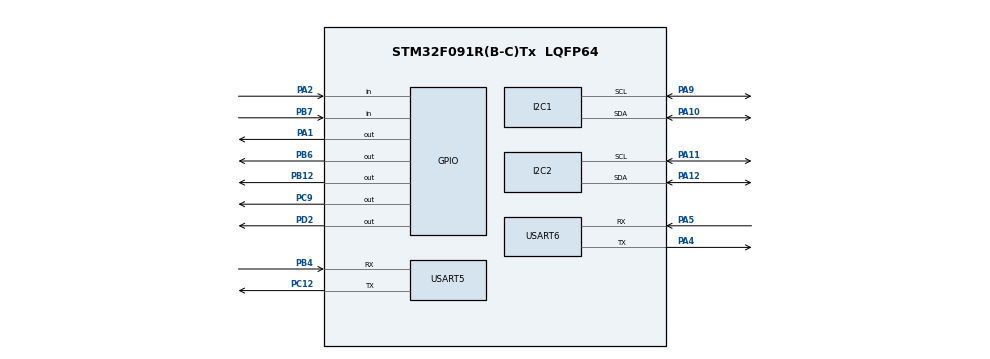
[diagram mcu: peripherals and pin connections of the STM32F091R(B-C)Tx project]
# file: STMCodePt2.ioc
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I2C1.Timing=0x00201D2B
Mcu.Family=STM32F0
Mcu.Name=STM32F091R(B-C)Tx
Mcu.Package=LQFP64
PA1.Signal=GPIO_Output
PA10.Mode=I2C
PA10.Signal=I2C1_SDA
PA11.Mode=I2C
PA11.Signal=I2C2_SCL
PA12.Mode=I2C
PA12.Signal=I2C2_SDA
PA2.Signal=GPIO_Input
PA4.Mode=Asynchronous
PA4.Signal=USART6_TX
PA5.Mode=Asynchronous
PA5.Signal=USART6_RX
PA9.Mode=I2C
PA9.Signal=I2C1_SCL
PB12.Signal=GPIO_Output
PB4.Mode=Asynchronous
PB4.Signal=USART5_RX
PB6.Signal=GPIO_Output
PB7.Signal=GPIO_Input
PC12.Mode=Asynchronous
PC12.Signal=USART5_TX
PC9.Signal=GPIO_Output
PD2.Signal=GPIO_Output
ProjectManager.HeapSize=0x200
ProjectManager.StackSize=0x400
ProjectManager.TargetToolchain=STM32CubeIDE
USART5.VirtualMode-Asynchronous=VM_ASYNC
USART6.VirtualMode=VM_ASYNC
board=custom

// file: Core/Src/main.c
/* USER CODE BEGIN Header */
/**
  ******************************************************************************
  * @file           : main.c
  * @brief          : Main program body
  ******************************************************************************
  * @attention
  *
  * Copyright (c) 2024 STMicroelectronics.
  * All rights reserved.
  *
  * This software is licensed under terms that can be found in the LICENSE file
  * in the root directory of this software component.
  * If no LICENSE file comes with this software, it is provided AS-IS.
  *
  ******************************************************************************
  */
/* USER CODE END Header */
#include "main.h"

/* USER CODE BEGIN Includes */
#include <string.h>
#include <stdio.h>

/* USER CODE END Includes */

I2C_HandleTypeDef hi2c1;
I2C_HandleTypeDef hi2c2;

UART_HandleTypeDef huart5;
UART_HandleTypeDef huart6;

/* USER CODE BEGIN PV */

// LSM9DS1 I2C address for Accelerometer/Gyroscope
//#define LSM9DS1_AG_ADDR 0x6B << 1  // Shifted for 7-bit address; FIX: check this addy
#define LSM9DS1_ADDR_WRITE  (0x6A << 1)  // Device write register
#define LSM9DS1_ADDR_READ   ((0x6A << 1) | 0x01)  // Device read register
#define REG_ACCEL 0x28	// X acceleration data register
#define TRIGGER_PIN 1                  // Assume trigger is connected to PB6
#define ECHO_PIN 2                     // Assume echo is connected to PB7
/* USER CODE END PV */

void SystemClock_Config(void);
static void MX_GPIO_Init(void);
static void MX_I2C1_Init(void);
static void MX_USART5_UART_Init(void);
static void MX_I2C2_Init(void);
static void MX_USART6_UART_Init(void);
/* USER CODE BEGIN PFP */
// Function prototypes
//void LSM9DS1_Init(void);
//void LSM9DS1_ReadAccel(int16_t *accel_x, int16_t *accel_y, int16_t *accel_z);

/* USER CODE END PFP */

int main(void)
{

  /* USER CODE BEGIN 1 */
  uint8_t BUFFER_SIZE = 60;
  uint8_t buf[BUFFER_SIZE];
  uint8_t config[2];
  uint8_t accel_data_1[6];
  uint8_t accel_data_2[6];
  int16_t accel_x_rim;
  int16_t accel_y_rim;
  int16_t accel_z_rim;
  int16_t accel_rim_mag;
  int16_t accel_x_back;
  int16_t accel_y_back;
  int16_t accel_z_back;
  int16_t accel_back_mag;
  float distance;
  char rim_flag;
  char back_flag;
  char dist_flag;
  float DIST_THRESHOLD;
  int16_t RIM_THRESHOLD;
  int16_t BACK_THRESHOLD;
  float SHOT_TIME;
  float dist_time;
  float rim_time;
  float back_time;

  /* USER CODE END 1 */

  /* MCU Configuration--------------------------------------------------------*/

  /* Reset of all peripherals, Initializes the Flash interface and the Systick. */
  HAL_Init();

  /* Configure the system clock */
  SystemClock_Config();

  /* Initialize all configured peripherals */
  MX_GPIO_Init();
  MX_I2C1_Init();
  MX_USART5_UART_Init();
  MX_I2C2_Init();
  MX_USART6_UART_Init();

  float measure_distance(void);
  extern void nano_wait(int);
  void delay_us(uint32_t us);

  /* USER CODE BEGIN 2 */
  DIST_THRESHOLD = 2;
  RIM_THRESHOLD = 50;
  BACK_THRESHOLD = 50;
  SHOT_TIME = 2;
  HAL_StatusTypeDef ret;
  config[0] = 0x20;
  config[1] = 0x60;

  accel_x_rim = 0;
  accel_y_rim = 0;
  accel_z_rim = 0;
  accel_rim_mag = 0;
  accel_x_back = 0;
  accel_y_back = 0;
  accel_z_back = 0;
  accel_back_mag = 0;
  distance = 100;
  rim_flag = 0;
  back_flag = 0;
  dist_flag = 0;
  dist_time = 0;
  rim_time = 0;
  back_time = 0;

  /* USER CODE END 2 */

  /* Infinite loop */
  while (1)
  {

    /* USER CODE BEGIN 3 */
	GPIOC->ODR |= (1 << 9);
	GPIOB->ODR |= (1 << 12);
	//delay_us(1000000); //1000000 is 6.01 seconds
	HAL_Delay(500);
	GPIOC->ODR &= ~(1 << 9);
	GPIOB->ODR &= ~(1 << 12);

	// Make sure IMU 1 is ready before proceeding
	if (HAL_I2C_IsDeviceReady(&hi2c1, LSM9DS1_ADDR_WRITE, 100, 1000) != HAL_OK) {
		strcpy((char*) buf, "Device 1 not ready\r\n");
		HAL_UART_Transmit(&huart5, buf, strlen((char*) buf), 10000);
		HAL_Delay(500);

		if (HAL_I2C_IsDeviceReady(&hi2c1, LSM9DS1_ADDR_WRITE, 100, 1000) == HAL_BUSY) {
			// Write deinit and init bus code here
		}
		continue;
	}

	// Make sure IMU 2 is ready before proceeding
	if (HAL_I2C_IsDeviceReady(&hi2c2, LSM9DS1_ADDR_WRITE, 100, 1000) != HAL_OK) {
		strcpy((char*) buf, "Device 2 not ready\r\n");
		HAL_UART_Transmit(&huart5, buf, strlen((char*) buf), 10000);
		HAL_Delay(500);

		if (HAL_I2C_IsDeviceReady(&hi2c2, LSM9DS1_ADDR_WRITE, 100, 1000) == HAL_BUSY) {
			// Write deinit and init bus code here
		}
		continue;
	}

	// Configure IMU 1
	if (HAL_I2C_Master_Transmit(&hi2c1, LSM9DS1_ADDR_WRITE, config, 2, 10000) != HAL_OK) {
		strcpy((char*) buf, "Failed to configure 1\r\n");
		HAL_UART_Transmit(&huart5, buf, strlen((char*) buf), 10000);
		HAL_Delay(500);
		continue;
	}
	// Configure IMU 2
	if (HAL_I2C_Master_Transmit(&hi2c2, LSM9DS1_ADDR_WRITE, config, 2, 10000) != HAL_OK) {
		strcpy((char*) buf, "Failed to configure 2\r\n");
		HAL_UART_Transmit(&huart5, buf, strlen((char*) buf), 10000);
		HAL_Delay(500);
		continue;
	}

	// Read from IMU 1
	if (HAL_I2C_Mem_Read(&hi2c1, LSM9DS1_ADDR_READ, REG_ACCEL, I2C_MEMADD_SIZE_8BIT, accel_data_1, 6, HAL_MAX_DELAY) != HAL_OK) {
		strcpy((char*) buf, "Failed to read data from IMU 1\r\n");
		HAL_UART_Transmit(&huart5, buf, strlen((char*) buf), 10000);
		HAL_Delay(500);
		continue;
	}

	// Read from IMU 2
	if (HAL_I2C_Mem_Read(&hi2c2, LSM9DS1_ADDR_READ, REG_ACCEL, I2C_MEMADD_SIZE_8BIT, accel_data_2, 6, HAL_MAX_DELAY) != HAL_OK) {
		strcpy((char*) buf, "Failed to read data from IMU 2\r\n");
		HAL_UART_Transmit(&huart5, buf, strlen((char*) buf), 10000);
		HAL_Delay(500);
		continue;
	}

	// Parse data values into variables
	accel_x_rim = (int16_t)(accel_data_1[1] << 8 | accel_data_2[0]);
	accel_y_rim = (int16_t)(accel_data_1[3] << 8 | accel_data_2[2]);
	accel_z_rim = (int16_t)(accel_data_1[5] << 8 | accel_data_2[4]);
	accel_x_back = (int16_t)(accel_data_2[1] << 8 | accel_data_2[0]);
	accel_y_back = (int16_t)(accel_data_2[3] << 8 | accel_data_2[2]);
	accel_z_back = (int16_t)(accel_data_2[5] << 8 | accel_data_2[4]);
	distance = (distance + measure_distance()) / 2;

	// Process data
	if (distance < DIST_THRESHOLD) {
		dist_flag = 1;
		dist_time = 0;
	}

	accel_back_mag = (accel_back_mag + accel_x_back + accel_y_back + accel_z_back) / 2;
		if (accel_back_mag > BACK_THRESHOLD) {
			back_flag = 1;
			back_time = 0;
		}

	accel_rim_mag = (accel_rim_mag + accel_x_rim + accel_y_rim + accel_z_rim) / 2;
	if (accel_rim_mag - accel_back_mag > RIM_THRESHOLD || accel_back_mag - accel_rim_mag > RIM_THRESHOLD) {
		rim_flag = 1;
		rim_time = 0;
	}

	// Reset flags if time passed
	if (dist_time > SHOT_TIME) {
		dist_flag = 0;
		dist_time = 0;
	}

	if (rim_time > SHOT_TIME) {
		rim_flag = 0;
		rim_time = 0;
	}

	if (back_time > SHOT_TIME) {
		back_flag = 0;
		back_time = 0;
	}

	// Place flags into buffer
	buf[0] = dist_flag;
	buf[1] = rim_flag;
	buf[2] = back_flag;

	// Send buffer data via UART
	HAL_UART_Transmit(&huart5, buf, 3, 10000);
	HAL_Delay(100);

	// NOTE: TESTING CODE TO SEE RAW VALUES

//	snprintf(buf, 60, "%d\r\n", distance*1000);
//	HAL_UART_Transmit(&huart5, buf, BUFFER_SIZE, 10000);
//	snprintf(buf, 60, "%d %d %d\r\n", accel_x_rim, accel_y_rim, accel_z_rim);
//	HAL_UART_Transmit(&huart5, buf, BUFFER_SIZE, 10000);
//	snprintf(buf, 60, "%d %d %d\r\n", accel_x_back, accel_y_back, accel_z_back);
//	HAL_UART_Transmit(&huart5, buf, BUFFER_SIZE, 10000);

	// Increment times
	dist_time += 1;
	rim_time += 1;
	back_time += 1;
	HAL_Delay(100);
  }
  /* USER CODE END 3 */
}
//delay function in us using nano_wait assembly code (from 362 credit to Niraj Menon)
void delay_us(uint32_t us)
{
    nano_wait(us*1000); //us->ns
}
//function to calculate distance to nearest object - used to see if ball passed by
float measure_distance(void)  //add to cube
{
    //initilaize time to 0
    float time = 0.0;

    // Send 10us pulse to trigger
    // GPIOB->BSRR = 1 << TRIGGER_PIN;         //set PB6 high
    // delay_us(10);
    // GPIOB->BRR = 1 << TRIGGER_PIN;         // Set PB6 low

    GPIOA->BSRR = 1 << TRIGGER_PIN;         //set PA1 high
    delay_us(10);
    GPIOA->BRR = 1 << TRIGGER_PIN;         // Set PA1 low

    //wait for echo pin to go high
    // while ((((GPIOB->IDR) >> ECHO_PIN) & 0x1) == 0){
    //     GPIOB->BSRR = 1 << TRIGGER_PIN;         //set PB6 high
    //     delay_us(10);
    //     GPIOB->BRR = 1 << TRIGGER_PIN;         // Set PB6 low
    // }

    while ((((GPIOA->IDR) >> ECHO_PIN) & 0x1) == 0){
        GPIOA->BSRR = 1 << TRIGGER_PIN;         //set PA1 high
        delay_us(10);
        GPIOA->BRR = 1 << TRIGGER_PIN;         // Set PA2 low
    }

    //now measure time it is high and that indicates how long wave travled, menaing how far it traveled before hitting

    // Measure how long echo pin stays high
    // while ((((GPIOB->IDR) >> ECHO_PIN) & 0x1) == 1) {
    //     time++;
    //     delay_us(1);
    // }

    while ((((GPIOA->IDR) >> ECHO_PIN) & 0x1) == 1) {
        time+=1.0;
        delay_us(1);
    }

    float scalar = 1.0;
    // Convert time to distance in cm: (us/1e6)= 1s * 343 = m, * 100 = cm: (time / 1E6) * 343 gives m / s * 100 gives cm/s
    float distance_func = ((time * 0.0343) / 2.0) * scalar; //use scalar if needed
    return distance_func;
}

void SystemClock_Config(void)
{
  RCC_OscInitTypeDef RCC_OscInitStruct = {0};
  RCC_ClkInitTypeDef RCC_ClkInitStruct = {0};
  RCC_PeriphCLKInitTypeDef PeriphClkInit = {0};

  /** Initializes the RCC Oscillators according to the specified parameters
  * in the RCC_OscInitTypeDef structure.
  */
  RCC_OscInitStruct.OscillatorType = RCC_OSCILLATORTYPE_HSI;
  RCC_OscInitStruct.HSIState = RCC_HSI_ON;
  RCC_OscInitStruct.HSICalibrationValue = RCC_HSICALIBRATION_DEFAULT;
  RCC_OscInitStruct.PLL.PLLState = RCC_PLL_NONE;
  if (HAL_RCC_OscConfig(&RCC_OscInitStruct) != HAL_OK)
  {
    Error_Handler();
  }

  /** Initializes the CPU, AHB and APB buses clocks
  */
  RCC_ClkInitStruct.ClockType = RCC_CLOCKTYPE_HCLK|RCC_CLOCKTYPE_SYSCLK
                              |RCC_CLOCKTYPE_PCLK1;
  RCC_ClkInitStruct.SYSCLKSource = RCC_SYSCLKSOURCE_HSI;
  RCC_ClkInitStruct.AHBCLKDivider = RCC_SYSCLK_DIV1;
  RCC_ClkInitStruct.APB1CLKDivider = RCC_HCLK_DIV1;

  if (HAL_RCC_ClockConfig(&RCC_ClkInitStruct, FLASH_LATENCY_0) != HAL_OK)
  {
    Error_Handler();
  }
  PeriphClkInit.PeriphClockSelection = RCC_PERIPHCLK_I2C1;
  PeriphClkInit.I2c1ClockSelection = RCC_I2C1CLKSOURCE_HSI;
  if (HAL_RCCEx_PeriphCLKConfig(&PeriphClkInit) != HAL_OK)
  {
    Error_Handler();
  }
}

static void MX_I2C1_Init(void)
{

  hi2c1.Instance = I2C1;
  hi2c1.Init.Timing = 0x00201D2B;
  hi2c1.Init.OwnAddress1 = 0;
  hi2c1.Init.AddressingMode = I2C_ADDRESSINGMODE_7BIT;
  hi2c1.Init.DualAddressMode = I2C_DUALADDRESS_DISABLE;
  hi2c1.Init.OwnAddress2 = 0;
  hi2c1.Init.OwnAddress2Masks = I2C_OA2_NOMASK;
  hi2c1.Init.GeneralCallMode = I2C_GENERALCALL_DISABLE;
  hi2c1.Init.NoStretchMode = I2C_NOSTRETCH_DISABLE;
  if (HAL_I2C_Init(&hi2c1) != HAL_OK)
  {
    Error_Handler();
  }

  /** Configure Analogue filter
  */
  if (HAL_I2CEx_ConfigAnalogFilter(&hi2c1, I2C_ANALOGFILTER_ENABLE) != HAL_OK)
  {
    Error_Handler();
  }

  /** Configure Digital filter
  */
  if (HAL_I2CEx_ConfigDigitalFilter(&hi2c1, 0) != HAL_OK)
  {
    Error_Handler();
  }

}

static void MX_I2C2_Init(void)
{

  hi2c2.Instance = I2C2;
  hi2c2.Init.Timing = 0x2000090E;
  hi2c2.Init.OwnAddress1 = 0;
  hi2c2.Init.AddressingMode = I2C_ADDRESSINGMODE_7BIT;
  hi2c2.Init.DualAddressMode = I2C_DUALADDRESS_DISABLE;
  hi2c2.Init.OwnAddress2 = 0;
  hi2c2.Init.OwnAddress2Masks = I2C_OA2_NOMASK;
  hi2c2.Init.GeneralCallMode = I2C_GENERALCALL_DISABLE;
  hi2c2.Init.NoStretchMode = I2C_NOSTRETCH_DISABLE;
  if (HAL_I2C_Init(&hi2c2) != HAL_OK)
  {
    Error_Handler();
  }

  /** Configure Analogue filter
  */
  if (HAL_I2CEx_ConfigAnalogFilter(&hi2c2, I2C_ANALOGFILTER_ENABLE) != HAL_OK)
  {
    Error_Handler();
  }

  /** Configure Digital filter
  */
  if (HAL_I2CEx_ConfigDigitalFilter(&hi2c2, 0) != HAL_OK)
  {
    Error_Handler();
  }

}

static void MX_USART5_UART_Init(void)
{

  huart5.Instance = USART5;
  huart5.Init.BaudRate = 115200;
  huart5.Init.WordLength = UART_WORDLENGTH_8B;
  huart5.Init.StopBits = UART_STOPBITS_1;
  huart5.Init.Parity = UART_PARITY_NONE;
  huart5.Init.Mode = UART_MODE_TX_RX;
  huart5.Init.HwFlowCtl = UART_HWCONTROL_NONE;
  huart5.Init.OverSampling = UART_OVERSAMPLING_16;
  huart5.Init.OneBitSampling = UART_ONE_BIT_SAMPLE_DISABLE;
  huart5.AdvancedInit.AdvFeatureInit = UART_ADVFEATURE_NO_INIT;
  if (HAL_UART_Init(&huart5) != HAL_OK)
  {
    Error_Handler();
  }

}

static void MX_USART6_UART_Init(void)
{

  huart6.Instance = USART6;
  huart6.Init.BaudRate = 115200;
  huart6.Init.WordLength = UART_WORDLENGTH_8B;
  huart6.Init.StopBits = UART_STOPBITS_1;
  huart6.Init.Parity = UART_PARITY_NONE;
  huart6.Init.Mode = UART_MODE_TX_RX;
  huart6.Init.HwFlowCtl = UART_HWCONTROL_NONE;
  huart6.Init.OverSampling = UART_OVERSAMPLING_16;
  huart6.Init.OneBitSampling = UART_ONE_BIT_SAMPLE_DISABLE;
  huart6.AdvancedInit.AdvFeatureInit = UART_ADVFEATURE_NO_INIT;
  if (HAL_UART_Init(&huart6) != HAL_OK)
  {
    Error_Handler();
  }

}

static void MX_GPIO_Init(void)
{
  GPIO_InitTypeDef GPIO_InitStruct = {0};

  /* GPIO Ports Clock Enable */
  __HAL_RCC_GPIOA_CLK_ENABLE();
  __HAL_RCC_GPIOB_CLK_ENABLE();
  __HAL_RCC_GPIOC_CLK_ENABLE();
  __HAL_RCC_GPIOD_CLK_ENABLE();

  /*Configure GPIO pin Output Level */
  HAL_GPIO_WritePin(GPIOA, GPIO_PIN_1, GPIO_PIN_RESET);

  /*Configure GPIO pin Output Level */
  HAL_GPIO_WritePin(GPIOB, GPIO_PIN_12|GPIO_PIN_6, GPIO_PIN_RESET);

  /*Configure GPIO pin Output Level */
  HAL_GPIO_WritePin(GPIOC, GPIO_PIN_9, GPIO_PIN_RESET);

  /*Configure GPIO pin Output Level */
  HAL_GPIO_WritePin(GPIOD, GPIO_PIN_2, GPIO_PIN_RESET);

  /*Configure GPIO pin : PA1 */
  GPIO_InitStruct.Pin = GPIO_PIN_1;
  GPIO_InitStruct.Mode = GPIO_MODE_OUTPUT_PP;
  GPIO_InitStruct.Pull = GPIO_NOPULL;
  GPIO_InitStruct.Speed = GPIO_SPEED_FREQ_LOW;
  HAL_GPIO_Init(GPIOA, &GPIO_InitStruct);

  /*Configure GPIO pin : PA2 */
  GPIO_InitStruct.Pin = GPIO_PIN_2;
  GPIO_InitStruct.Mode = GPIO_MODE_INPUT;
  GPIO_InitStruct.Pull = GPIO_NOPULL;
  HAL_GPIO_Init(GPIOA, &GPIO_InitStruct);

  /*Configure GPIO pins : PB12 PB6 */
  GPIO_InitStruct.Pin = GPIO_PIN_12|GPIO_PIN_6;
  GPIO_InitStruct.Mode = GPIO_MODE_OUTPUT_PP;
  GPIO_InitStruct.Pull = GPIO_NOPULL;
  GPIO_InitStruct.Speed = GPIO_SPEED_FREQ_LOW;
  HAL_GPIO_Init(GPIOB, &GPIO_InitStruct);

  /*Configure GPIO pin : PC9 */
  GPIO_InitStruct.Pin = GPIO_PIN_9;
  GPIO_InitStruct.Mode = GPIO_MODE_OUTPUT_PP;
  GPIO_InitStruct.Pull = GPIO_NOPULL;
  GPIO_InitStruct.Speed = GPIO_SPEED_FREQ_LOW;
  HAL_GPIO_Init(GPIOC, &GPIO_InitStruct);

  /*Configure GPIO pin : PD2 */
  GPIO_InitStruct.Pin = GPIO_PIN_2;
  GPIO_InitStruct.Mode = GPIO_MODE_OUTPUT_PP;
  GPIO_InitStruct.Pull = GPIO_NOPULL;
  GPIO_InitStruct.Speed = GPIO_SPEED_FREQ_LOW;
  HAL_GPIO_Init(GPIOD, &GPIO_InitStruct);

  /*Configure GPIO pin : PB7 */
  GPIO_InitStruct.Pin = GPIO_PIN_7;
  GPIO_InitStruct.Mode = GPIO_MODE_INPUT;
  GPIO_InitStruct.Pull = GPIO_NOPULL;
  HAL_GPIO_Init(GPIOB, &GPIO_InitStruct);

}

void Error_Handler(void)
{
  __disable_irq();
  while (1)
  {
  }
}
